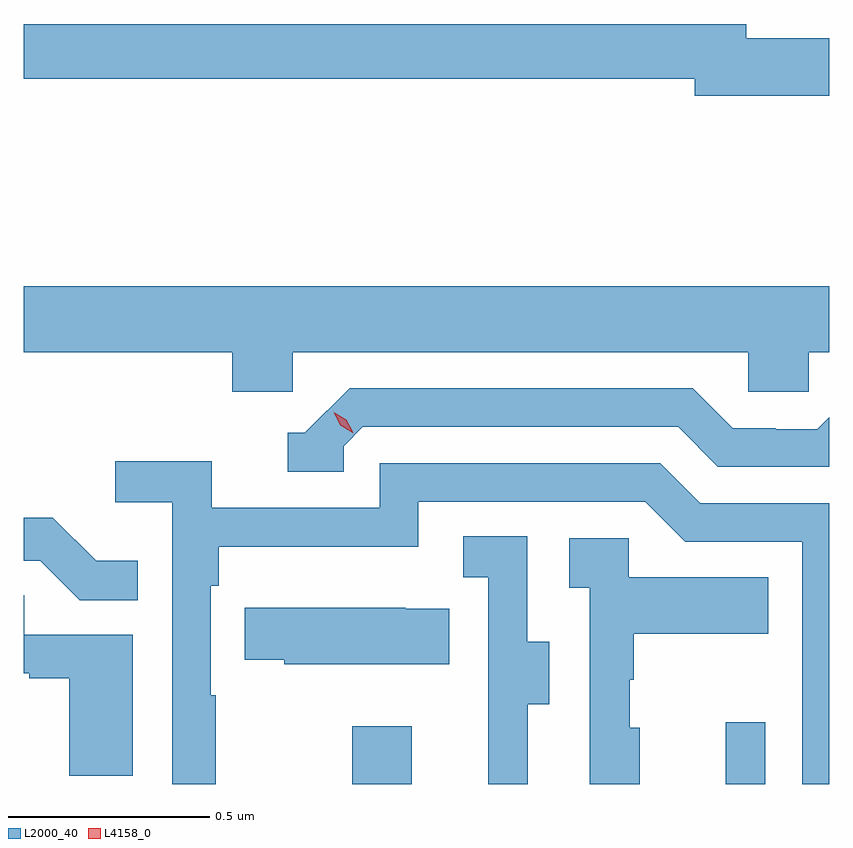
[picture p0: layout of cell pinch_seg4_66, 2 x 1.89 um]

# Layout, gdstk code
import gdstk
lib = gdstk.Library(unit=1e-6, precision=1e-09)
def R(c, l, rs):  # rectangles x0, y0, x1, y1
    for r in rs: c.add(gdstk.rectangle(r[:2], r[2:], *l))
def P(c, l, *ps):  # polygons
    for p in ps: c.add(gdstk.Polygon(p, *l))
L2000_40 = (2000, 40)
L4158_0 = (4158, 0)

pinch_seg4_66 = lib.new_cell('pinch_seg4_66')
R(pinch_seg4_66, L2000_40, [(1047.832,825.052,1047.979,825.196), (1048.76,825.052,1048.857,825.205)])
P(pinch_seg4_66, L2000_40, [(1049.016,826.904),(1048.81,826.904),(1048.81,826.94),(1047.016,826.94),(1047.016,826.804),(1048.682,826.804),(1048.682,826.762),(1049.016,826.762)],
  [(1047.684,826.124),(1048.815,826.124),(1048.815,826.026),(1048.965,826.026),(1048.965,826.124),(1049.016,826.124),(1049.016,826.288),(1047.016,826.288),(1047.016,826.124),(1047.533,826.124),(1047.533,826.026),(1047.684,826.026)],
  [(1047.81,825.891),(1047.858,825.939),(1048.641,825.939),(1048.74,825.84),(1049.016,825.84),(1049.016,825.963),(1048.987,825.933),(1048.884,825.933),(1048.884,825.936),(1048.777,825.936),(1048.678,826.035),(1047.825,826.035),(1047.714,825.924),(1047.671,825.924),(1047.671,825.828),(1047.81,825.828)],
  [(1047.493,825.272),(1047.48,825.272),(1047.48,825.545),(1047.5,825.545),(1047.5,825.641),(1047.996,825.641),(1047.996,825.753),(1048.56,825.753),(1048.659,825.654),(1048.95,825.654),(1048.95,825.052),(1049.016,825.052),(1049.016,825.75),(1048.696,825.75),(1048.597,825.849),(1047.9,825.849),(1047.9,825.738),(1047.482,825.738),(1047.482,825.854),(1047.243,825.854),(1047.243,825.752),(1047.384,825.752),(1047.384,825.052),(1047.493,825.052)],
  [(1047.299,825.607),(1047.195,825.607),(1047.088,825.714),(1047.016,825.714),(1047.016,825.606),(1047.057,825.606),(1047.155,825.508),(1047.299,825.508)],
  [(1048.267,825.25),(1048.321,825.25),(1048.321,825.405),(1048.266,825.405),(1048.266,825.668),(1048.107,825.668),(1048.107,825.565),(1048.17,825.565),(1048.17,825.261),(1048.169,825.261),(1048.169,825.052),(1048.267,825.052)],
  [(1048.546,825.192),(1048.521,825.192),(1048.521,825.311),(1048.531,825.311),(1048.531,825.425),(1048.865,825.425),(1048.865,825.565),(1048.518,825.565),(1048.518,825.663),(1048.371,825.663),(1048.371,825.539),(1048.422,825.539),(1048.422,825.052),(1048.546,825.052)],
  [(1047.286,825.423),(1047.017,825.423),(1047.017,825.521),(1047.016,825.521),(1047.016,825.327),(1047.029,825.327),(1047.029,825.315),(1047.128,825.315),(1047.128,825.072),(1047.286,825.072)],
  [(1048.073,825.487),(1047.965,825.487),(1047.965,825.49),(1047.565,825.49),(1047.565,825.361),(1047.663,825.361),(1047.663,825.35),(1048.073,825.35)])
P(pinch_seg4_66, L4158_0, [(1047.833,825.924),(1047.802,825.943),(1047.785,825.976),(1047.785,825.976),(1047.786,825.976),(1047.817,825.957),(1047.834,825.925),(1047.834,825.924)])

lib.write_gds('pinch_seg4_66.gds')
